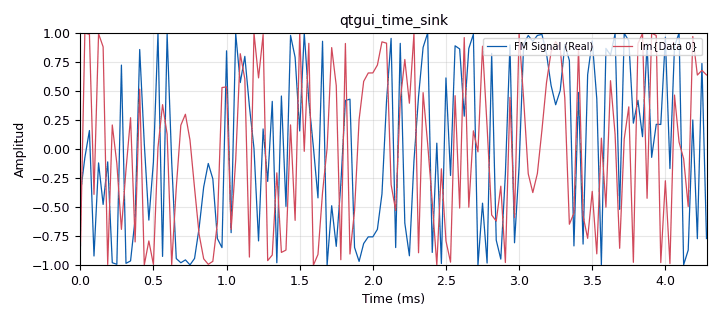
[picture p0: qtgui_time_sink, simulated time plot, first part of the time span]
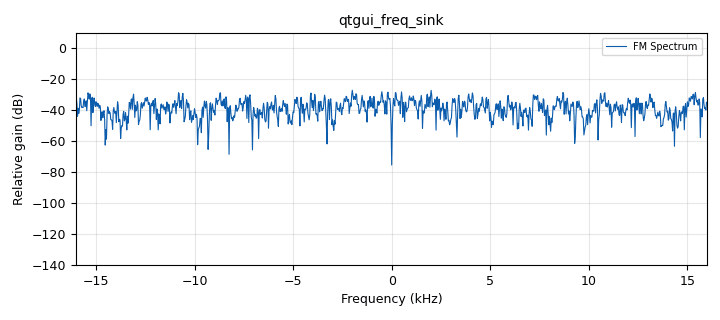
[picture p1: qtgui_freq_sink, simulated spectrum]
<?xml version='1.0' encoding='utf-8'?>
<?grc format='1' created='3.10.0'?>
<flow_graph>
<block>
<key>options</key>
<param><key>id</key><value>fm_modulation</value></param>
<param><key>author</key><value>SSA-Akademin</value></param>
<param><key>comment</key><value>Exempel på frekvensmodulation (FM)</value></param>
<param><key>copyright</key><value>CC BY-SA 4.0</value></param>
<param><key>description</key><value>Demonstration av frekvensmodulation</value></param>
<param><key>generate_options</key><value>qt_gui</value></param>
<param><key>output_language</key><value>python</value></param>
<param><key>title</key><value>FM Modulation Example</value></param>
</block>
<block>
<key>variable</key>
<param><key>id</key><value>samp_rate</value></param>
<param><key>comment</key><value>Samplingsfrekvens</value></param>
<param><key>value</key><value>32000</value></param>
</block>
<block>
<key>variable</key>
<param><key>id</key><value>carrier_freq</value></param>
<param><key>comment</key><value>Bärvågsfrekvens</value></param>
<param><key>value</key><value>1000</value></param>
</block>
<block>
<key>variable</key>
<param><key>id</key><value>modulation_freq</value></param>
<param><key>comment</key><value>Modulerande signalfrekvens</value></param>
<param><key>value</key><value>100</value></param>
</block>
<block>
<key>variable</key>
<param><key>id</key><value>freq_deviation</value></param>
<param><key>comment</key><value>Frekvensdeviation</value></param>
<param><key>value</key><value>75</value></param>
</block>
<block>
<key>analog_sig_source_x</key>
<param><key>id</key><value>modulating_source</value></param>
<param><key>amp</key><value>1</value></param>
<param><key>comment</key><value>Modulerande signal</value></param>
<param><key>freq</key><value>modulation_freq</value></param>
<param><key>offset</key><value>0</value></param>
<param><key>samp_rate</key><value>samp_rate</value></param>
<param><key>type</key><value>float</value></param>
<param><key>waveform</key><value>analog.GR_COS_WAVE</value></param>
</block>
<block>
<key>analog_frequency_modulator_fc</key>
<param><key>id</key><value>fm_mod</value></param>
<param><key>comment</key><value>FM modulator</value></param>
<param><key>sensitivity</key><value>2*3.14159*freq_deviation</value></param>
</block>
<block>
<key>qtgui_time_sink_x</key>
<param><key>id</key><value>qtgui_time_sink</value></param>
<param><key>comment</key><value>Tidsdomän - realdel</value></param>
<param><key>ctrlpanel</key><value>True</value></param>
<param><key>label1</key><value>FM Signal (Real)</value></param>
<param><key>size</key><value>1024</value></param>
<param><key>srate</key><value>samp_rate</value></param>
<param><key>type</key><value>complex</value></param>
<param><key>ylabel</key><value>Amplitud</value></param>
</block>
<block>
<key>qtgui_freq_sink_x</key>
<param><key>id</key><value>qtgui_freq_sink</value></param>
<param><key>comment</key><value>Frekvensdomän</value></param>
<param><key>bw</key><value>samp_rate</value></param>
<param><key>fc</key><value>0</value></param>
<param><key>fftsize</key><value>1024</value></param>
<param><key>label1</key><value>FM Spectrum</value></param>
<param><key>type</key><value>complex</value></param>
<param><key>ylabel</key><value>Effekt (dB)</value></param>
</block>
<connection><source_block_id>modulating_source</source_block_id><sink_block_id>fm_mod</sink_block_id><source_key>0</source_key><sink_key>0</sink_key></connection>
<connection><source_block_id>fm_mod</source_block_id><sink_block_id>qtgui_time_sink</sink_block_id><source_key>0</source_key><sink_key>0</sink_key></connection>
<connection><source_block_id>fm_mod</source_block_id><sink_block_id>qtgui_freq_sink</sink_block_id><source_key>0</source_key><sink_key>0</sink_key></connection>
</flow_graph>
